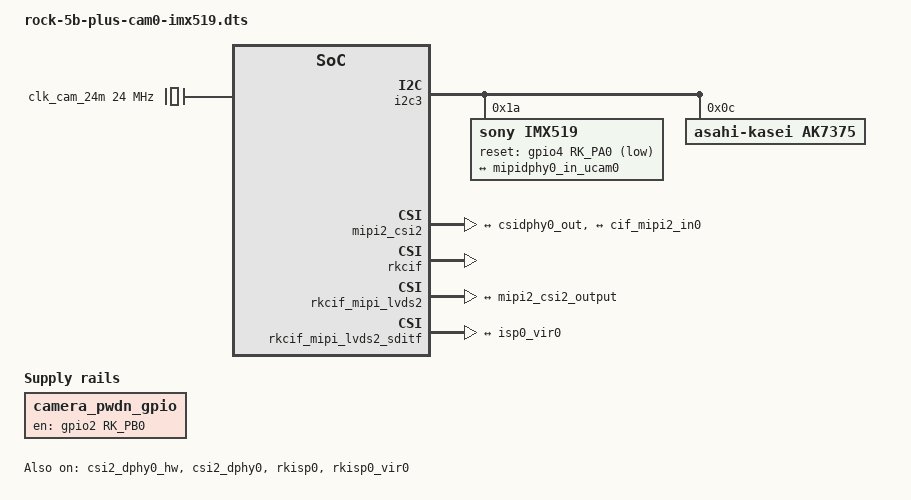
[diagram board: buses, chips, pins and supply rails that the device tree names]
/dts-v1/;
/plugin/;

#include <dt-bindings/clock/rk3588-cru.h>
#include <dt-bindings/power/rk3588-power.h>
#include <dt-bindings/gpio/gpio.h>
#include <dt-bindings/pinctrl/rockchip.h>

/ {
	metadata {
		title = "Enable Arducam Camera IMX519";
		compatible = "radxa,rock-5b-plus";
		category = "camera";
		exclusive = "csi2_dphy0";
		description = "Enable Arducam Camera IMX519 on ROCK 5B+";
	};


	fragment@0 {
		camera_pwdn_gpio: camera-pwdn-gpio {
			compatible = "regulator-fixed";
			regulator-name = "camera_pwdn_gpio";
			regulator-always-on;
			regulator-boot-on;
			enable-active-high;
			gpio = <&gpio2 RK_PB0 GPIO_ACTIVE_HIGH>;
			pinctrl-names = "default";
			pinctrl-0 = <&cam_pwdn_gpio>;
		};

		clk_cam_24m: external-camera-clock-24m {
			compatible = "fixed-clock";
			clock-frequency = <24000000>;
			clock-output-names = "clk_cam_24m";
			#clock-cells = <0>;
		};
	};

	fragment@1 {
		target = <&i2c3>;

		__overlay__ {
			status = "okay";
			#address-cells = <1>;
			#size-cells = <0>;

			imx519: imx519@1a {
				status = "okay";
				compatible = "sony,imx519";
				reg = <0x1a>;
				clocks = <&clk_cam_24m>;
				clock-names = "xclk";

				power-domains = <&power RK3588_PD_VI>;
				reset-gpios = <&gpio4 RK_PA0 GPIO_ACTIVE_LOW>;

				rockchip,camera-module-index = <0>;
				rockchip,camera-module-facing = "front";
				rockchip,camera-module-name = "arducam-imx519";
				rockchip,camera-module-lens-name = "default";
				lens-focus = <3>;

				port {
					imx519_out0: endpoint {
						remote-endpoint = <&mipidphy0_in_ucam0>;
						data-lanes = <1 2>;
					};
				};
			};

			ak7375@0c {
				compatible = "asahi-kasei,ak7375";
				status = "okay";
				reg = <0x0c>;
				rockchip,vcm-start-current = <0>;
				rockchip,vcm-rated-current = <100>;
				rockchip,vcm-step-mode = <4>;
				rockchip,camera-module-index = <0>;
				rockchip,camera-module-facing = "back";
			};
		};
	};

	fragment@2 {
		target = <&csi2_dphy0_hw>;

		__overlay__ {
			status = "okay";
		};
	};

	fragment@3 {
		target = <&csi2_dphy0>;

		__overlay__ {
			status = "okay";

			ports {
				#address-cells = <1>;
				#size-cells = <0>;

				port@0 {
					reg = <0>;
					#address-cells = <1>;
					#size-cells = <0>;

					mipidphy0_in_ucam0: endpoint@1 {
						reg = <1>;
						remote-endpoint = <&imx519_out0>;
						data-lanes = <1 2>;
					};
				};

				port@1 {
					reg = <1>;
					#address-cells = <1>;
					#size-cells = <0>;

					csidphy0_out: endpoint@0 {
						reg = <0>;
						remote-endpoint = <&mipi2_csi2_input>;
					};
				};
			};
		};
	};

	fragment@4 {
		target = <&mipi2_csi2>;

		__overlay__ {
			status = "okay";

			ports {
				#address-cells = <1>;
				#size-cells = <0>;

				port@0 {
					reg = <0>;
					#address-cells = <1>;
					#size-cells = <0>;

					mipi2_csi2_input: endpoint@1 {
						reg = <1>;
						remote-endpoint = <&csidphy0_out>;
					};
				};

				port@1 {
					reg = <1>;
					#address-cells = <1>;
					#size-cells = <0>;

					mipi2_csi2_output: endpoint@0 {
						reg = <0>;
						remote-endpoint = <&cif_mipi2_in0>;
					};
				};
			};
		};
	};

	fragment@5 {
		target = <&rkcif>;

		__overlay__ {
			status = "okay";
		};
	};

	fragment@6 {
		target = <&rkcif_mipi_lvds2>;

		__overlay__ {
			status = "okay";

			port {
				cif_mipi2_in0: endpoint {
					remote-endpoint = <&mipi2_csi2_output>;
				};
			};
		};
	};

	fragment@7 {
		target = <&rkcif_mipi_lvds2_sditf>;

		__overlay__ {
			status = "okay";

			port {
				mipi_lvds2_sditf: endpoint {
					remote-endpoint = <&isp0_vir0>;
				};
			};
		};
	};

	fragment@8 {
		target = <&rkcif_mmu>;

		__overlay__ {
			status = "okay";
		};
	};

	fragment@9 {
		target = <&isp0_mmu>;

		__overlay__ {
			status = "okay";
		};
	};

	fragment@10 {
		target = <&rkisp0>;

		__overlay__ {
			status = "okay";
		};
	};

	fragment@11 {
		target = <&rkisp0_vir0>;

		__overlay__ {
			status = "okay";

			port {
				#address-cells = <1>;
				#size-cells = <0>;

				isp0_vir0: endpoint@0 {
					reg = <0>;
					remote-endpoint = <&mipi_lvds2_sditf>;
				};
			};
		};
	};

	fragment@12 {
		target = <&pinctrl>;

		__overlay__ {
			camera {
				cam_pwdn_gpio: cam-pwdn-gpio {
					rockchip,pins = <1 RK_PB0 RK_FUNC_GPIO &pcfg_pull_up>;
				};
			};
		};
	};
};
